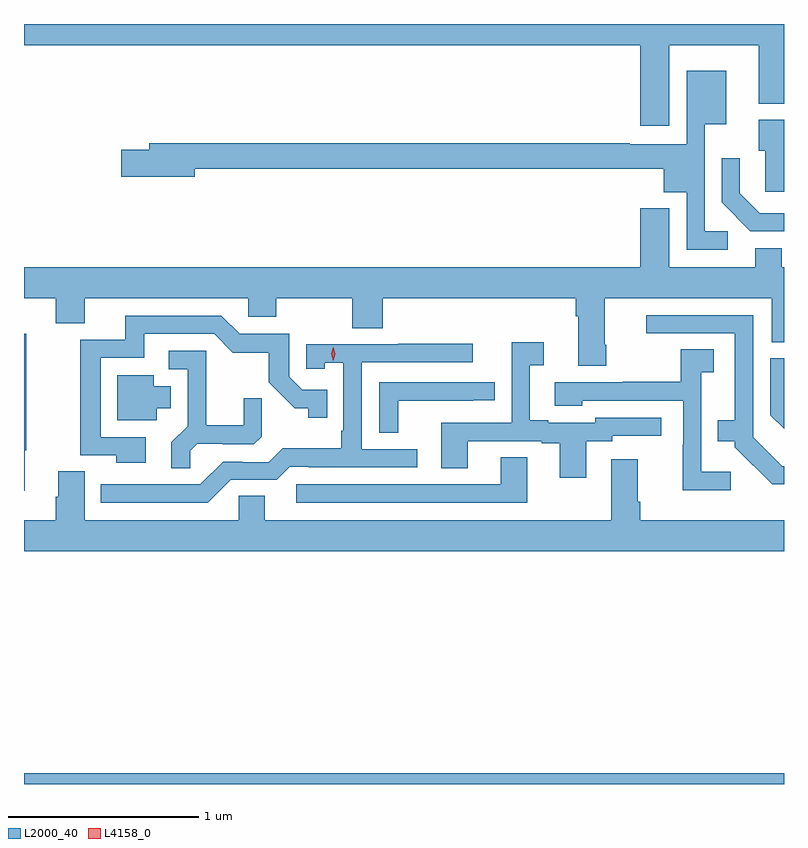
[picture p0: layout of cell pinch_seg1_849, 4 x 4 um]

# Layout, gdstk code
import gdstk
lib = gdstk.Library(unit=1e-6, precision=1e-09)
def R(c, l, rs):  # rectangles x0, y0, x1, y1
    for r in rs: c.add(gdstk.rectangle(r[:2], r[2:], *l))
def P(c, l, *ps):  # polygons
    for p in ps: c.add(gdstk.Polygon(p, *l))
L2000_40 = (2000, 40)
L4158_0 = (4158, 0)

pinch_seg1_849 = lib.new_cell('pinch_seg1_849')
R(pinch_seg1_849, L2000_40, [(467.189,531.859,471.189,531.916)])
P(pinch_seg1_849, L2000_40, [(470.584,535.748),(471.056,535.748),(471.056,535.439),(471.189,535.439),(471.189,535.859),(467.189,535.859),(467.189,535.748),(470.432,535.748),(470.432,535.323),(470.584,535.323)],
  [(470.892,534.768),(470.772,534.768),(470.772,535.331),(470.884,535.331),(470.884,535.612),(470.676,535.612),(470.676,535.225),(470.376,535.225),(470.376,535.232),(467.849,535.232),(467.849,535.196),(467.7,535.196),(467.7,535.054),(468.088,535.054),(468.088,535.096),(470.555,535.096),(470.555,534.974),(470.676,534.974),(470.676,534.672),(470.892,534.672)],
  [(471.189,535.354),(471.056,535.354),(471.056,535.193),(471.089,535.193),(471.089,534.975),(471.189,534.975)],
  [(471.189,534.864),(471.164,534.864),(471.164,534.862),(471.062,534.862),(470.957,534.968),(470.957,535.153),(470.862,535.153),(470.862,534.92),(470.938,534.844),(470.937,534.843),(471.012,534.768),(471.189,534.768)],
  [(470.253,534.172),(470.245,534.172),(470.245,534.416),(471.125,534.416),(471.125,534.184),(471.189,534.184),(471.189,534.58),(471.178,534.58),(471.178,534.679),(471.038,534.679),(471.038,534.58),(470.584,534.58),(470.584,534.889),(470.432,534.889),(470.432,534.58),(467.189,534.58),(467.189,534.416),(467.357,534.416),(467.357,534.283),(467.509,534.283),(467.509,534.416),(468.369,534.416),(468.369,534.318),(468.516,534.318),(468.516,534.416),(468.916,534.416),(468.916,534.259),(469.076,534.259),(469.076,534.416),(470.093,534.416),(470.093,534.32),(470.105,534.32),(470.105,534.06),(470.253,534.06)],
  [(471.189,533.532),(471.18,533.532),(471.027,533.685),(471.027,534.327),(470.463,534.327),(470.463,534.231),(470.93,534.231),(470.93,533.773),(470.839,533.773),(470.839,533.663),(470.931,533.663),(470.931,533.631),(471.126,533.436),(471.189,533.436)],
  [(467.83,533.685),(467.592,533.685),(467.592,534.102),(467.821,534.102),(467.821,534.228),(468.189,534.228),(468.288,534.13),(468.477,534.13),(468.477,533.974),(468.614,533.837),(468.684,533.837),(468.684,533.787),(468.785,533.787),(468.785,533.934),(468.654,533.934),(468.585,534.003),(468.585,534.228),(468.324,534.228),(468.228,534.324),(467.723,534.324),(467.723,534.198),(467.484,534.198),(467.484,533.589),(467.674,533.589),(467.674,533.549),(467.83,533.549)],
  [(467.194,533.615),(467.202,533.615),(467.202,534.229),(467.189,534.229),(467.189,533.403),(467.194,533.403)],
  [(470.149,533.664),(470.286,533.664),(470.286,533.691),(470.542,533.691),(470.542,533.787),(470.196,533.787),(470.196,533.76),(469.948,533.76),(469.948,533.773),(469.852,533.773),(469.852,534.064),(469.924,534.064),(469.924,534.184),(469.755,534.184),(469.755,533.76),(469.385,533.76),(469.385,533.521),(469.525,533.521),(469.525,533.664),(469.913,533.664),(469.913,533.652),(470.009,533.652),(470.009,533.472),(470.149,533.472)],
  [(468.276,533.46),(468.519,533.46),(468.588,533.529),(468.688,533.529),(468.688,533.526),(469.258,533.526),(469.258,533.622),(468.966,533.622),(468.966,534.078),(469.552,534.078),(469.552,534.177),(469.159,534.177),(469.159,534.174),(468.675,534.174),(468.675,534.045),(468.771,534.045),(468.771,534.077),(468.87,534.077),(468.87,533.719),(468.858,533.719),(468.858,533.626),(468.55,533.626),(468.477,533.553),(468.338,533.553),(468.338,533.556),(468.237,533.556),(468.117,533.436),(467.594,533.436),(467.594,533.34),(468.156,533.34)],
  [(470.908,533.503),(470.754,533.503),(470.754,534.025),(470.818,534.025),(470.818,534.146),(470.646,534.146),(470.646,533.976),(470.341,533.976),(470.341,533.973),(469.983,533.973),(469.983,533.849),(470.127,533.849),(470.127,533.877),(470.658,533.877),(470.658,533.645),(470.656,533.645),(470.656,533.405),(470.908,533.405)],
  [(468.063,533.612),(468.1,533.649),(468.234,533.649),(468.234,533.646),(468.399,533.646),(468.44,533.687),(468.44,533.889),(468.346,533.889),(468.346,533.746),(468.149,533.746),(468.149,534.138),(467.952,534.138),(467.952,534.042),(468.051,534.042),(468.051,533.743),(467.965,533.657),(467.965,533.521),(468.063,533.521)],
  [(471.189,534.099),(471.117,534.099),(471.117,533.801),(471.189,533.729)],
  [(467.887,533.837),(467.962,533.837),(467.962,533.953),(467.872,533.953),(467.872,534.01),(467.681,534.01),(467.681,533.774),(467.887,533.774)],
  [(469.158,533.877),(469.553,533.877),(469.553,533.878),(469.666,533.878),(469.666,533.973),(469.059,533.973),(469.059,533.707),(469.158,533.707)],
  [(469.837,533.579),(469.697,533.579),(469.697,533.436),(468.621,533.436),(468.621,533.34),(469.837,533.34)],
  [(471.189,533.248),(470.432,533.248),(470.432,533.344),(470.419,533.344),(470.419,533.569),(470.279,533.569),(470.279,533.248),(468.457,533.248),(468.457,533.375),(468.318,533.375),(468.318,533.248),(467.509,533.248),(467.509,533.504),(467.369,533.504),(467.369,533.37),(467.357,533.37),(467.357,533.248),(467.189,533.248),(467.189,533.084),(471.189,533.084)])
P(pinch_seg1_849, L4158_0, [(468.817,534.087),(468.817,534.087),(468.807,534.123),(468.817,534.159),(468.817,534.159),(468.817,534.159),(468.827,534.123),(468.817,534.087)])

lib.write_gds('pinch_seg1_849.gds')
